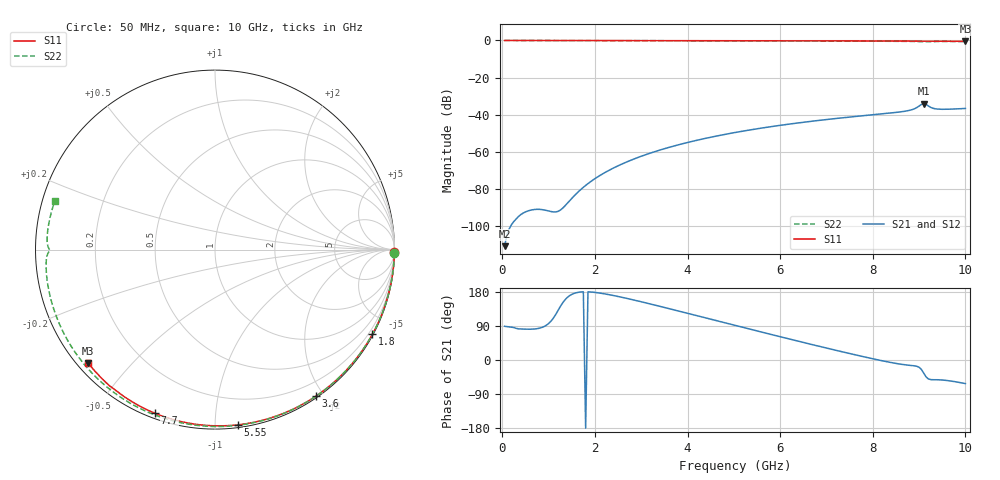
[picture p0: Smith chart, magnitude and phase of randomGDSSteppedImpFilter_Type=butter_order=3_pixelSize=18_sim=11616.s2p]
! freq	dB(S11)	phase(S11)	dB(S12)	phase(S12)
!  dB(S21)	phase(S21)	dB(S22)	phase(S22)
!S-par simulation data
#  GHz  S  DB  R 50
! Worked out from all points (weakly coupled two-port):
!   200 points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, 50 MHz to 10 GHz, reference 50 ohm
!   highest |S21| = -34.05 dB at 9.1 GHz (marker M1); lowest = -111.0 dB at 50 MHz (marker M2)
!   lowest |S11| = -0.5 dB at 10 GHz (marker M3), VSWR 37.52, Z = 1.53 - j19.1 ohm
!   |S11| at or under -10 dB: nowhere
!   |S22| runs from -0.7 to 0.0 dB; largest |S21 - S12| = 0
!   S11 on the Smith chart (normalised r, x): 50 MHz: open; 1.8 GHz: 0.03, -3.96; 3.6 GHz: 0.02, -1.91; 5.55 GHz: 0.02, -1.14; 7.7 GHz: 0.02, -0.70; 10 GHz: 0.03, -0.38
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0.05  -0.00 -0.8  -111.03 89.0  -111.03 89.0  -0.00 -1.2
0.85  -0.02 -13.5  -91.27 85.7  -91.27 85.7  -0.02 -19.5
1.7  -0.03 -26.8  -80.34 179.6  -80.34 179.6  -0.05 -38.5
1.75  -0.04 -27.5  -79.26 180.0  -79.26 180.0  -0.05 -39.6
1.8  -0.04 -28.3  -78.24 -180.0  -78.24 -180.0  -0.05 -40.7
2.1  -0.04 -32.9  -73.00 176.7  -73.00 176.7  -0.06 -47.2
2.45  -0.05 -38.3  -68.24 169.0  -68.24 169.0  -0.07 -54.7
2.9  -0.06 -45.0  -63.43 156.6  -63.43 156.6  -0.08 -64.2
3.4  -0.07 -52.4  -59.17 141.7  -59.17 141.7  -0.10 -74.5
3.6  -0.07 -55.3  -57.70 135.6  -57.70 135.6  -0.10 -78.5
4.3  -0.09 -65.3  -53.31 113.9  -53.31 113.9  -0.13 -92.3
5.05  -0.12 -75.8  -49.57 90.6  -49.57 90.6  -0.16 -106.5
5.55  -0.14 -82.5  -47.48 75.2  -47.48 75.2  -0.19 -115.7
6.7  -0.19 -97.6  -43.54 40.4  -43.54 40.4  -0.26 -136.5
7.7  -0.25 -110.2  -40.84 11.4  -40.84 11.4  -0.35 -154.3
8.35  -0.30 -118.2  -39.26 -5.6  -39.26 -5.6  -0.41 -166.1
8.8  -0.34 -123.6  -37.68 -14.1  -37.68 -14.1  -0.49 -174.7
8.9  -0.35 -124.8  -36.87 -15.4  -36.87 -15.4  -0.53 -176.7
9.1  -0.36 -127.2  -34.05 -34.7  -34.05 -34.7  -0.73 -179.8
9.25  -0.37 -129.1  -36.11 -51.7  -36.11 -51.7  -0.59 178.2
9.4  -0.39 -130.9  -37.03 -52.1  -37.03 -52.1  -0.56 175.1
10  -0.46 -138.1  -36.71 -62.2  -36.71 -62.2  -0.61 163.0
